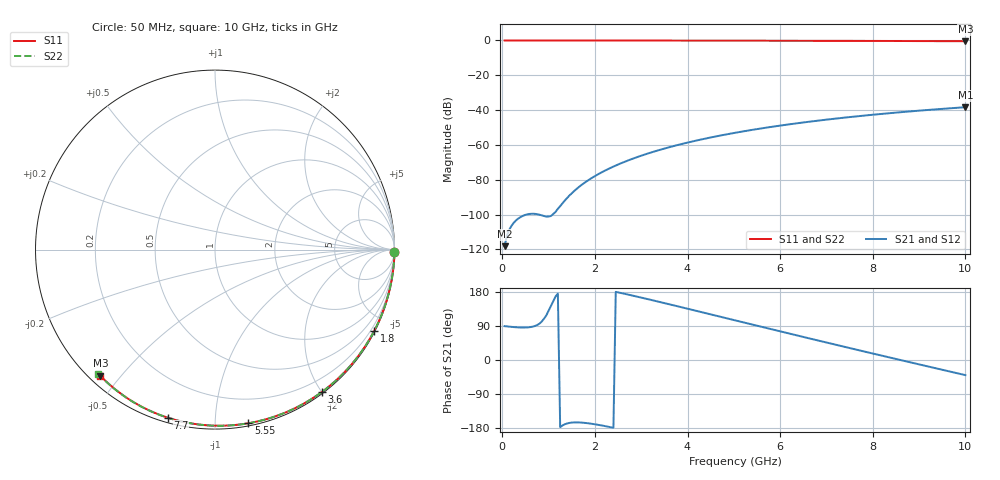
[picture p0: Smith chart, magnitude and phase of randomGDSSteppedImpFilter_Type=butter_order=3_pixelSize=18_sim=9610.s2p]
! freq	dB(S11)	phase(S11)	dB(S12)	phase(S12)
!  dB(S21)	phase(S21)	dB(S22)	phase(S22)
!S-par simulation data
#  GHz  S  DB  R 50
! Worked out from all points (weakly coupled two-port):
!   200 points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, 50 MHz to 10 GHz, reference 50 ohm
!   highest |S21| = -38.34 dB at 10 GHz (marker M1); lowest = -118.2 dB at 50 MHz (marker M2)
!   lowest |S11| = -0.4 dB at 10 GHz (marker M3), VSWR 38.68, Z = 1.55 - j22.1 ohm
!   |S11| at or under -10 dB: nowhere
!   |S22| runs from -0.4 to 0.0 dB; largest |S21 - S12| = 0
!   S11 on the Smith chart (normalised r, x): 50 MHz: open; 1.8 GHz: 0.04, -4.15; 3.6 GHz: 0.02, -2.01; 5.55 GHz: 0.02, -1.21; 7.7 GHz: 0.02, -0.76; 10 GHz: 0.03, -0.44
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0.05  -0.00 -0.8  -118.15 89.3  -118.15 89.3  -0.00 -0.8
0.9  -0.02 -13.7  -100.87 108.8  -100.87 108.8  -0.02 -13.8
1.75  -0.03 -26.4  -82.23 -165.6  -82.23 -165.6  -0.03 -26.5
1.8  -0.03 -27.1  -81.28 -166.2  -81.28 -166.2  -0.03 -27.3
1.85  -0.04 -27.8  -80.38 -166.9  -80.38 -166.9  -0.04 -28.0
1.9  -0.04 -28.6  -79.52 -167.7  -79.52 -167.7  -0.04 -28.8
2.05  -0.04 -30.8  -77.13 -170.6  -77.13 -170.6  -0.04 -31.0
2.25  -0.04 -33.7  -74.31 -175.2  -74.31 -175.2  -0.04 -33.9
2.45  -0.05 -36.6  -71.83 179.8  -71.83 179.8  -0.05 -36.9
2.65  -0.05 -39.5  -69.60 174.5  -69.60 174.5  -0.05 -39.8
3  -0.06 -44.5  -66.18 164.7  -66.18 164.7  -0.06 -44.8
3.4  -0.07 -50.2  -62.84 153.1  -62.84 153.1  -0.07 -50.5
3.6  -0.07 -53.0  -61.35 147.2  -61.35 147.2  -0.07 -53.3
4.3  -0.09 -62.6  -56.84 126.4  -56.84 126.4  -0.09 -63.0
5.05  -0.11 -72.6  -52.92 104.0  -52.92 104.0  -0.11 -73.1
5.55  -0.13 -79.2  -50.69 89.0  -50.69 89.0  -0.13 -79.7
6.1  -0.15 -86.2  -48.52 72.7  -48.52 72.7  -0.15 -86.7
6.7  -0.18 -93.6  -46.43 54.9  -46.43 54.9  -0.18 -94.2
7.7  -0.24 -105.7  -43.45 25.7  -43.45 25.7  -0.24 -106.4
8.35  -0.29 -113.4  -41.79 7.0  -41.79 7.0  -0.29 -114.1
9.15  -0.36 -122.6  -40.00 -15.8  -40.00 -15.8  -0.36 -123.4
10  -0.45 -132.3  -38.34 -39.9  -38.34 -39.9  -0.45 -133.1
